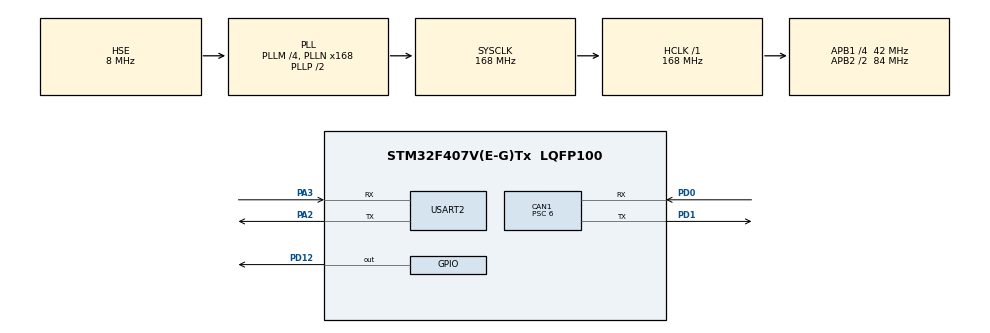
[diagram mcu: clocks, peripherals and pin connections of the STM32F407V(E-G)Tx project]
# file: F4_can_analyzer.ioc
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CAN1.ABOM=ENABLE
CAN1.BS1=CAN_BS1_11TQ
CAN1.BS2=CAN_BS2_2TQ
CAN1.CalculateBaudRate=500000
CAN1.CalculateTimeBit=2000
CAN1.CalculateTimeQuantum=142.85714285714286
CAN1.Mode=CAN_MODE_NORMAL
CAN1.NART=ENABLE
CAN1.Prescaler=6
Mcu.Family=STM32F4
Mcu.Name=STM32F407V(E-G)Tx
Mcu.Package=LQFP100
NVIC.CAN1_RX0_IRQn=true\:0\:0\:false\:false\:true\:true\:true\:true
NVIC.PriorityGroup=NVIC_PRIORITYGROUP_0
NVIC.USART2_IRQn=true\:0\:0\:false\:false\:true\:true\:true\:true
PA13.Mode=Serial_Wire
PA13.Signal=SYS_JTMS-SWDIO
PA14.Mode=Serial_Wire
PA14.Signal=SYS_JTCK-SWCLK
PA2.Mode=Asynchronous
PA2.Signal=USART2_TX
PA3.Mode=Asynchronous
PA3.Signal=USART2_RX
PD0.Mode=CAN_Activate
PD0.Signal=CAN1_RX
PD1.Mode=CAN_Activate
PD1.Signal=CAN1_TX
PD12.Signal=GPIO_Output
PH0-OSC_IN.Mode=HSE-External-Oscillator
PH0-OSC_IN.Signal=RCC_OSC_IN
PH1-OSC_OUT.Mode=HSE-External-Oscillator
PH1-OSC_OUT.Signal=RCC_OSC_OUT
ProjectManager.HeapSize=0x200
ProjectManager.StackSize=0x400
ProjectManager.TargetToolchain=STM32CubeIDE
RCC.48MHZClocksFreq_Value=48000000
RCC.AHBFreq_Value=168000000
RCC.APB1CLKDivider=RCC_HCLK_DIV4
RCC.APB1Freq_Value=42000000
RCC.APB1TimFreq_Value=84000000
RCC.APB2CLKDivider=RCC_HCLK_DIV2
RCC.APB2Freq_Value=84000000
RCC.APB2TimFreq_Value=168000000
RCC.CortexFreq_Value=168000000
RCC.HCLKFreq_Value=168000000
RCC.HSE_VALUE=8000000
RCC.HSI_VALUE=16000000
RCC.LSE_VALUE=32768
RCC.PLLM=4
RCC.PLLN=168
RCC.PLLQ=7
RCC.PLLSourceVirtual=RCC_PLLSOURCE_HSE
RCC.SYSCLKFreq_VALUE=168000000
RCC.SYSCLKSource=RCC_SYSCLKSOURCE_PLLCLK
RCC.VCOOutputFreq_Value=336000000
USART2.VirtualMode=VM_ASYNC
board=STM32F407G-DISC1

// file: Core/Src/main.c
/* USER CODE BEGIN Header */
/**
  ******************************************************************************
  * @file           : main.c
  * @brief          : Main program body
  ******************************************************************************
  * @attention
  *
  * Copyright (c) 2026 STMicroelectronics.
  * All rights reserved.
  *
  * This software is licensed under terms that can be found in the LICENSE file
  * in the root directory of this software component.
  * If no LICENSE file comes with this software, it is provided AS-IS.
  *
  ******************************************************************************
  */
/* USER CODE END Header */
#include "main.h"

/* USER CODE BEGIN Includes */
#include <stdio.h>
#include <string.h>
#include <stdlib.h>
/* USER CODE END Includes */

/* USER CODE BEGIN PTD */
typedef struct {
    uint32_t id;
    uint8_t dlc;
    uint8_t data[8];
} TrameCAN;
/* USER CODE END PTD */

/* USER CODE BEGIN PD */
#define TAILLE_FILE 32
#define TAILLE_LIGNE 64
/* USER CODE END PD */

CAN_HandleTypeDef hcan1;

UART_HandleTypeDef huart2;

/* USER CODE BEGIN PV */
volatile TrameCAN file[TAILLE_FILE];
volatile uint8_t tete = 0;
volatile uint8_t queue = 0;
volatile uint32_t trames_perdues = 0;

uint8_t octet_recu;
char ligne_pc[TAILLE_LIGNE];
volatile uint8_t pos_ligne = 0;
volatile uint8_t ligne_prete = 0;

/* USER CODE END PV */

void SystemClock_Config(void);
static void MX_GPIO_Init(void);
static void MX_CAN1_Init(void);
static void MX_USART2_UART_Init(void);
/* USER CODE BEGIN PFP */
static void traiter_commande(char *cmd);
/* USER CODE END PFP */

/* USER CODE BEGIN 0 */
void HAL_CAN_RxFifo0MsgPendingCallback(CAN_HandleTypeDef *hcan)
{
    CAN_RxHeaderTypeDef rxHeader;
    uint8_t data[8];

    while (HAL_CAN_GetRxFifoFillLevel(hcan, CAN_RX_FIFO0) > 0)
    {
        if (HAL_CAN_GetRxMessage(hcan, CAN_RX_FIFO0, &rxHeader, data) != HAL_OK)
            break;

        uint8_t suivant = (tete + 1) % TAILLE_FILE;
        if (suivant == queue) {
            trames_perdues++;
            continue;
        }

        file[tete].id = rxHeader.StdId;
        file[tete].dlc = rxHeader.DLC;
        for (int i = 0; i < 8; i++) file[tete].data[i] = data[i];
        tete = suivant;
    }
}

void HAL_UART_RxCpltCallback(UART_HandleTypeDef *huart)
{
    if (huart->Instance == USART2)
    {
        if (!ligne_prete)
        {
            if (octet_recu == '\r' || octet_recu == '\n') {
                if (pos_ligne > 0) {
                    ligne_pc[pos_ligne] = '\0';
                    ligne_prete = 1;
                    pos_ligne = 0;
                }
            } else if (pos_ligne < TAILLE_LIGNE - 1) {
                ligne_pc[pos_ligne++] = octet_recu;
            }
        }
        HAL_UART_Receive_IT(&huart2, &octet_recu, 1);
    }
}

void HAL_UART_ErrorCallback(UART_HandleTypeDef *huart)
{
    if (huart->Instance == USART2) {
        HAL_UART_Receive_IT(&huart2, &octet_recu, 1);
    }
}
/* USER CODE END 0 */

int main(void)
{

  /* MCU Configuration--------------------------------------------------------*/

  /* Reset of all peripherals, Initializes the Flash interface and the Systick. */
  HAL_Init();

  /* Configure the system clock */
  SystemClock_Config();

  /* Initialize all configured peripherals */
  MX_GPIO_Init();
  MX_CAN1_Init();
  MX_USART2_UART_Init();
  /* USER CODE BEGIN 2 */

  CAN_FilterTypeDef filtre = {0};
  filtre.FilterBank = 0;
  filtre.FilterMode = CAN_FILTERMODE_IDMASK;
  filtre.FilterScale = CAN_FILTERSCALE_32BIT;
  filtre.FilterFIFOAssignment = CAN_RX_FIFO0;
  filtre.FilterActivation = ENABLE;
  filtre.SlaveStartFilterBank = 14;
  if (HAL_CAN_ConfigFilter(&hcan1, &filtre) != HAL_OK) Error_Handler();

  if (HAL_CAN_ActivateNotification(&hcan1, CAN_IT_RX_FIFO0_MSG_PENDING) != HAL_OK) Error_Handler();
  if (HAL_CAN_Start(&hcan1) != HAL_OK) Error_Handler();

  char debut[] = "# F4 CAN analyzer pret\r\n";
  HAL_UART_Transmit(&huart2, (uint8_t*)debut, strlen(debut), 100);

  HAL_UART_Receive_IT(&huart2, &octet_recu, 1);
  /* USER CODE END 2 */

  /* Infinite loop */
  while (1)
  {

    /* USER CODE BEGIN 3 */
	    while (queue != tete)
	    {
	        TrameCAN t;
	        t.id = file[queue].id;
	        t.dlc = file[queue].dlc;
	        for (int i = 0; i < 8; i++) t.data[i] = file[queue].data[i];
	        queue = (queue + 1) % TAILLE_FILE;

	        char ligne[48];
	        int n = sprintf(ligne, "R %03lX %d", t.id, t.dlc);
	        for (int i = 0; i < t.dlc; i++) {
	            n += sprintf(ligne + n, " %02X", t.data[i]);
	        }
	        n += sprintf(ligne + n, "\r\n");

	        HAL_UART_Transmit(&huart2, (uint8_t*)ligne, n, 100);
	        HAL_GPIO_TogglePin(GPIOD, GPIO_PIN_12);
	    }
	    if (ligne_prete)
	    {
	        char commande[TAILLE_LIGNE];
	        strcpy(commande, ligne_pc);
	        ligne_prete = 0;
	        traiter_commande(commande);
	    }
	  }
  /* USER CODE END 3 */
}

void SystemClock_Config(void)
{
  RCC_OscInitTypeDef RCC_OscInitStruct = {0};
  RCC_ClkInitTypeDef RCC_ClkInitStruct = {0};

  /** Configure the main internal regulator output voltage
  */
  __HAL_RCC_PWR_CLK_ENABLE();
  __HAL_PWR_VOLTAGESCALING_CONFIG(PWR_REGULATOR_VOLTAGE_SCALE1);

  /** Initializes the RCC Oscillators according to the specified parameters
  * in the RCC_OscInitTypeDef structure.
  */
  RCC_OscInitStruct.OscillatorType = RCC_OSCILLATORTYPE_HSE;
  RCC_OscInitStruct.HSEState = RCC_HSE_ON;
  RCC_OscInitStruct.PLL.PLLState = RCC_PLL_ON;
  RCC_OscInitStruct.PLL.PLLSource = RCC_PLLSOURCE_HSE;
  RCC_OscInitStruct.PLL.PLLM = 4;
  RCC_OscInitStruct.PLL.PLLN = 168;
  RCC_OscInitStruct.PLL.PLLP = RCC_PLLP_DIV2;
  RCC_OscInitStruct.PLL.PLLQ = 7;
  if (HAL_RCC_OscConfig(&RCC_OscInitStruct) != HAL_OK)
  {
    Error_Handler();
  }

  /** Initializes the CPU, AHB and APB buses clocks
  */
  RCC_ClkInitStruct.ClockType = RCC_CLOCKTYPE_HCLK|RCC_CLOCKTYPE_SYSCLK
                              |RCC_CLOCKTYPE_PCLK1|RCC_CLOCKTYPE_PCLK2;
  RCC_ClkInitStruct.SYSCLKSource = RCC_SYSCLKSOURCE_PLLCLK;
  RCC_ClkInitStruct.AHBCLKDivider = RCC_SYSCLK_DIV1;
  RCC_ClkInitStruct.APB1CLKDivider = RCC_HCLK_DIV4;
  RCC_ClkInitStruct.APB2CLKDivider = RCC_HCLK_DIV2;

  if (HAL_RCC_ClockConfig(&RCC_ClkInitStruct, FLASH_LATENCY_5) != HAL_OK)
  {
    Error_Handler();
  }
}

static void MX_CAN1_Init(void)
{

  hcan1.Instance = CAN1;
  hcan1.Init.Prescaler = 6;
  hcan1.Init.Mode = CAN_MODE_NORMAL;
  hcan1.Init.SyncJumpWidth = CAN_SJW_1TQ;
  hcan1.Init.TimeSeg1 = CAN_BS1_11TQ;
  hcan1.Init.TimeSeg2 = CAN_BS2_2TQ;
  hcan1.Init.TimeTriggeredMode = DISABLE;
  hcan1.Init.AutoBusOff = ENABLE;
  hcan1.Init.AutoWakeUp = DISABLE;
  hcan1.Init.AutoRetransmission = ENABLE;
  hcan1.Init.ReceiveFifoLocked = DISABLE;
  hcan1.Init.TransmitFifoPriority = DISABLE;
  if (HAL_CAN_Init(&hcan1) != HAL_OK)
  {
    Error_Handler();
  }

}

static void MX_USART2_UART_Init(void)
{

  huart2.Instance = USART2;
  huart2.Init.BaudRate = 115200;
  huart2.Init.WordLength = UART_WORDLENGTH_8B;
  huart2.Init.StopBits = UART_STOPBITS_1;
  huart2.Init.Parity = UART_PARITY_NONE;
  huart2.Init.Mode = UART_MODE_TX_RX;
  huart2.Init.HwFlowCtl = UART_HWCONTROL_NONE;
  huart2.Init.OverSampling = UART_OVERSAMPLING_16;
  if (HAL_UART_Init(&huart2) != HAL_OK)
  {
    Error_Handler();
  }

}

static void MX_GPIO_Init(void)
{
  GPIO_InitTypeDef GPIO_InitStruct = {0};

  /* GPIO Ports Clock Enable */
  __HAL_RCC_GPIOH_CLK_ENABLE();
  __HAL_RCC_GPIOA_CLK_ENABLE();
  __HAL_RCC_GPIOD_CLK_ENABLE();

  /*Configure GPIO pin Output Level */
  HAL_GPIO_WritePin(GPIOD, GPIO_PIN_12, GPIO_PIN_RESET);

  /*Configure GPIO pin : PD12 */
  GPIO_InitStruct.Pin = GPIO_PIN_12;
  GPIO_InitStruct.Mode = GPIO_MODE_OUTPUT_PP;
  GPIO_InitStruct.Pull = GPIO_NOPULL;
  GPIO_InitStruct.Speed = GPIO_SPEED_FREQ_LOW;
  HAL_GPIO_Init(GPIOD, &GPIO_InitStruct);

}

/* USER CODE BEGIN 4 */
static void traiter_commande(char *cmd)
{
    char rep[64];

    if (cmd[0] == 'T' && cmd[1] == ' ')
    {
        char *p = cmd + 2;
        char *fin;

        uint32_t id = strtoul(p, &fin, 16);
        if (fin == p || id > 0x7FF) {
            strcpy(rep, "# ERR identifiant\r\n");
            HAL_UART_Transmit(&huart2, (uint8_t*)rep, strlen(rep), 100);
            return;
        }
        p = fin;

        uint32_t dlc = strtoul(p, &fin, 10);
        if (fin == p || dlc > 8) {
            strcpy(rep, "# ERR longueur\r\n");
            HAL_UART_Transmit(&huart2, (uint8_t*)rep, strlen(rep), 100);
            return;
        }
        p = fin;

        uint8_t data[8] = {0};
        for (uint32_t i = 0; i < dlc; i++) {
            uint32_t v = strtoul(p, &fin, 16);
            if (fin == p || v > 0xFF) {
                strcpy(rep, "# ERR donnees\r\n");
                HAL_UART_Transmit(&huart2, (uint8_t*)rep, strlen(rep), 100);
                return;
            }
            data[i] = (uint8_t)v;
            p = fin;
        }

        CAN_TxHeaderTypeDef txHeader = {0};
        uint32_t txMailbox;
        txHeader.StdId = id;
        txHeader.IDE = CAN_ID_STD;
        txHeader.RTR = CAN_RTR_DATA;
        txHeader.DLC = dlc;

        if (HAL_CAN_AddTxMessage(&hcan1, &txHeader, data, &txMailbox) == HAL_OK) {
            sprintf(rep, "# OK T %03lX\r\n", id);
        } else {
            strcpy(rep, "# ERR bus occupe\r\n");
        }
    }
    else
    {
        strcpy(rep, "# ERR commande inconnue\r\n");
    }

    HAL_UART_Transmit(&huart2, (uint8_t*)rep, strlen(rep), 100);
}
/* USER CODE END 4 */

void Error_Handler(void)
{
  __disable_irq();
  while (1)
  {
  }
}
